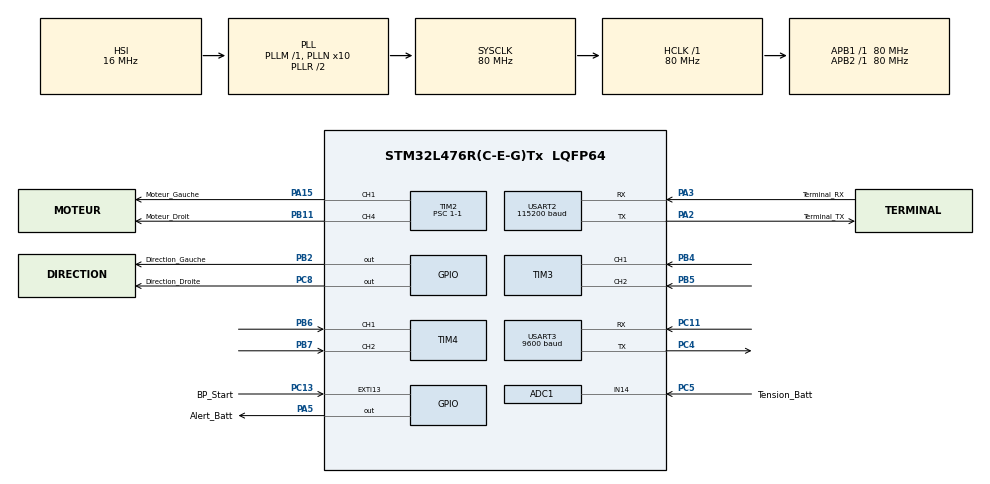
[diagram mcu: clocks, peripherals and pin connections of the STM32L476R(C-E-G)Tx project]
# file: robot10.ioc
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ADC1.AWD1HighThreshold=4095
ADC1.AWD1ITMode=ENABLE
ADC1.AWD1LowThreshold=3723
ADC1.Channel-0\#ChannelRegularConversion=ADC_CHANNEL_14
ADC1.EnableAnalogWatchDog1=true
ADC1.NbrOfConversionFlag=1
ADC1.OffsetNumber-0\#ChannelRegularConversion=ADC_OFFSET_NONE
ADC1.Rank-0\#ChannelRegularConversion=1
ADC1.SamplingTime-0\#ChannelRegularConversion=ADC_SAMPLETIME_2CYCLES_5
ADC1.WatchdogChannel=ADC_CHANNEL_14
ADC1.master=1
Mcu.Family=STM32L4
Mcu.Name=STM32L476R(C-E-G)Tx
Mcu.Package=LQFP64
NVIC.ADC1_2_IRQn=true\:0\:0\:false\:false\:true\:true\:true\:true
NVIC.EXTI15_10_IRQn=true\:0\:0\:false\:false\:true\:true\:true\:true
NVIC.PriorityGroup=NVIC_PRIORITYGROUP_4
NVIC.TIM6_DAC_IRQn=true\:0\:0\:false\:false\:true\:true\:true\:true
NVIC.USART3_IRQn=true\:0\:0\:false\:false\:true\:true\:true\:true
PA13\ (JTMS-SWDIO).GPIO_Label=TMS
PA13\ (JTMS-SWDIO).Mode=Serial_Wire
PA13\ (JTMS-SWDIO).Signal=SYS_JTMS-SWDIO
PA14\ (JTCK-SWCLK).GPIO_Label=TCK
PA14\ (JTCK-SWCLK).Mode=Serial_Wire
PA14\ (JTCK-SWCLK).Signal=SYS_JTCK-SWCLK
PA15\ (JTDI).GPIO_Label=Moteur_Gauche
PA15\ (JTDI).Signal=S_TIM2_CH1
PA2.GPIO_Label=Terminal_TX
PA2.GPIO_Mode=GPIO_MODE_AF_PP
PA2.GPIO_PuPd=GPIO_NOPULL
PA2.GPIO_Speed=GPIO_SPEED_FREQ_VERY_HIGH
PA2.Mode=Asynchronous
PA2.Signal=USART2_TX
PA3.GPIO_Label=Terminal_RX
PA3.Mode=Asynchronous
PA3.Signal=USART2_RX
PA5.GPIO_Label=Alert_Batt
PA5.GPIO_ModeDefaultOutputPP=GPIO_MODE_OUTPUT_PP
PA5.GPIO_PuPd=GPIO_NOPULL
PA5.GPIO_Speed=GPIO_SPEED_FREQ_LOW
PA5.Signal=GPIO_Output
PB11.GPIO_Label=Moteur_Droit
PB11.Signal=S_TIM2_CH4
PB2.GPIO_Label=Direction_Gauche
PB2.Signal=GPIO_Output
PB3\ (JTDO-TRACESWO).GPIO_Label=SWO
PB3\ (JTDO-TRACESWO).Signal=SYS_JTDO-SWO
PB4\ (NJTRST).Signal=S_TIM3_CH1
PB5.Signal=S_TIM3_CH2
PB6.Signal=S_TIM4_CH1
PB7.Signal=S_TIM4_CH2
PC11.Mode=Asynchronous
PC11.Signal=USART3_RX
PC13.GPIO_Label=BP_Start
PC13.Signal=GPXTI13
PC14-OSC32_IN\ (PC14).Mode=LSE-External-Oscillator
PC14-OSC32_IN\ (PC14).Signal=RCC_OSC32_IN
PC15-OSC32_OUT\ (PC15).Mode=LSE-External-Oscillator
PC15-OSC32_OUT\ (PC15).Signal=RCC_OSC32_OUT
PC4.Mode=Asynchronous
PC4.Signal=USART3_TX
PC5.GPIO_Label=Tension_Batt
PC5.Signal=ADCx_IN14
PC8.GPIO_Label=Direction_Droite
PC8.Signal=GPIO_Output
PH0-OSC_IN\ (PH0).Signal=RCC_OSC_IN
PH1-OSC_OUT\ (PH1).Signal=RCC_OSC_OUT
ProjectManager.HeapSize=0x200
ProjectManager.StackSize=0x400
ProjectManager.TargetToolchain=STM32CubeIDE
RCC.ADCFreq_Value=64000000
RCC.AHBFreq_Value=80000000
RCC.APB1Freq_Value=80000000
RCC.APB1TimFreq_Value=80000000
RCC.APB2Freq_Value=80000000
RCC.APB2TimFreq_Value=80000000
RCC.CortexFreq_Value=80000000
RCC.HCLKFreq_Value=80000000
RCC.HSE_VALUE=8000000
RCC.HSI_VALUE=16000000
RCC.MSI_VALUE=4000000
RCC.PLLN=10
RCC.PLLSourceVirtual=RCC_PLLSOURCE_HSI
RCC.PREFETCH_ENABLE=1
RCC.SYSCLKFreq_VALUE=80000000
RCC.SYSCLKSource=RCC_SYSCLKSOURCE_PLLCLK
RCC.USART2CLockSelection=RCC_USART2CLKSOURCE_HSI
RCC.USBFreq_Value=64000000
RCC.VCOOutputFreq_Value=160000000
SH.ADCx_IN14.0=ADC1_IN14,IN14-Single-Ended
SH.S_TIM2_CH1.0=TIM2_CH1,PWM Generation1 CH1
SH.S_TIM2_CH4.0=TIM2_CH4,PWM Generation4 CH4
SH.S_TIM3_CH1.0=TIM3_CH1,Encoder_Interface
SH.S_TIM3_CH2.0=TIM3_CH2,Encoder_Interface
SH.S_TIM4_CH1.0=TIM4_CH1,Encoder_Interface
SH.S_TIM4_CH2.0=TIM4_CH2,Encoder_Interface
TIM2.Channel-PWM\ Generation1\ CH1=TIM_CHANNEL_1
TIM2.Channel-PWM\ Generation4\ CH4=TIM_CHANNEL_4
TIM2.Period=160000-1
TIM2.Prescaler=1-1
TIM3.EncoderMode=TIM_ENCODERMODE_TI12
TIM3.IC1Filter=8
TIM3.IC1Polarity=TIM_ICPOLARITY_FALLING
TIM3.IC2Filter=8
TIM3.IC2Polarity=TIM_ICPOLARITY_RISING
TIM4.EncoderMode=TIM_ENCODERMODE_TI12
TIM4.IC1Filter=8
TIM4.IC1Polarity=TIM_ICPOLARITY_RISING
TIM4.IC2Filter=8
TIM4.IC2Polarity=TIM_ICPOLARITY_RISING
TIM6.Period=65041-1
TIM6.Prescaler=123-1
USART2.BaudRate=115200
USART2.Mode=MODE_TX
USART2.VirtualMode-Asynchronous=VM_ASYNC
USART3.BaudRate=9600
USART3.Mode=MODE_RX
USART3.VirtualMode-Asynchronous=VM_ASYNC
VP_TIM2_VS_ClockSourceINT.Mode=Internal
VP_TIM6_VS_ClockSourceINT.Mode=Enable_Timer
board=NUCLEO-L476RG

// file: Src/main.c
/* USER CODE BEGIN Header */
/**
 ******************************************************************************
 * @file           : main.c
 * @brief          : Main program body
 ******************************************************************************
 * @attention
 *
 * Copyright (c) 2024 STMicroelectronics.
 * All rights reserved.
 *
 * This software is licensed under terms that can be found in the LICENSE file
 * in the root directory of this software component.
 * If no LICENSE file comes with this software, it is provided AS-IS.
 *
 ******************************************************************************
 */
/* USER CODE END Header */
#include "main.h"

/* USER CODE BEGIN PTD */
typedef enum
{
	// robot immobile
	ETAT_ZERO,

	// avancer, trois vitesses possibles
	ETAT_A1,
	ETAT_A2,
	ETAT_A3,

	// reculer, trois vitesses possibles
	ETAT_R1,
	ETAT_R2,
	ETAT_R3,

	// pivoter vers la gauche, trois vitesses possibles
	ETAT_G1,
	ETAT_G2,
	ETAT_G3,

	// pivoter vers la droite, trois vitesses possibles
	ETAT_D1,
	ETAT_D2,
	ETAT_D3
} Etat;

typedef enum
{
	DIR_GAUCHE,
	DIR_DROITE
} Direction;
/* USER CODE END PTD */

/* USER CODE BEGIN PD */
#define GAUCHE TIM_CHANNEL_4
#define DROITE TIM_CHANNEL_1

#define HTIM_GAUCHE &htim3
#define HTIM_DROITE &htim4

#define DIRECTION_ARRIERE 0
#define DIRECTION_AVANT 1

#define CARACT_AVANT 'A'
#define CARACT_ARRIERE 'R'
#define CARACT_GAUCHE 'G'
#define CARACT_DROITE 'D'
/* USER CODE END PD */

/* USER CODE BEGIN PM */
#define abs(x) ((x<0)?-(x):x)
/* USER CODE END PM */

ADC_HandleTypeDef hadc1;

TIM_HandleTypeDef htim2;
TIM_HandleTypeDef htim3;
TIM_HandleTypeDef htim4;
TIM_HandleTypeDef htim6;

UART_HandleTypeDef huart2;
UART_HandleTypeDef huart3;

/* USER CODE BEGIN PV */

// Constantes à paramétrer
const int FREQ_VERIF_BATT_MS = 5000;
const int DELAI_REBOND_MS = 500;

// Constantes déterminées expérimentalement
const int K_p_G = 30;
const int K_p_D = 30;
const int K_i_G = 10;
const int K_i_D = 10;
const int V_MAX = 170/5;
const int REF_TOP_D = 6144;
const int REF_TOP_G = 6170;
const int REF_MUL = 100;

// Vitesse de base qui sera multipliée par 1, 2 ou 3
const char V_0 = 10; // cm/s

// Messages à envoyer au terminal en temps voulu
const unsigned char message_batterie[] = "Batterie faible.\r\n";
const unsigned char message_go[] = "C'est parti !\r\n";
const unsigned char message_stop[] = "Arrêt d'urgence !\r\n";

// Variables globales
volatile char go = 0;
volatile char T_batt = 0;
volatile uint8_t caract_recu;

// Variables d'état
volatile Etat etat_present = ETAT_ZERO;
volatile Etat etat_futur = ETAT_ZERO;

// Vitesses en cm/s
volatile char consigne_G = 0;
volatile char consigne_D = 0;
volatile unsigned int vitesse_G_cms, vitesse_D_cms;
/* USER CODE END PV */

void SystemClock_Config(void);
static void MX_GPIO_Init(void);
static void MX_USART2_UART_Init(void);
static void MX_ADC1_Init(void);
static void MX_TIM6_Init(void);
static void MX_TIM2_Init(void);
static void MX_USART3_UART_Init(void);
static void MX_TIM3_Init(void);
static void MX_TIM4_Init(void);
/* USER CODE BEGIN PFP */
unsigned int calculer_PWM(int vitesse, Direction dir);
void reset_PWM(void);
int diff_top(int vitesse, Direction dir);
int cm_s(int diff_top, Direction dir);
/* USER CODE END PFP */

int main(void)
{

  /* MCU Configuration--------------------------------------------------------*/

  /* Reset of all peripherals, Initializes the Flash interface and the Systick. */
  HAL_Init();

  /* Configure the system clock */
  SystemClock_Config();

  /* Initialize all configured peripherals */
  MX_GPIO_Init();
  MX_USART2_UART_Init();
  MX_ADC1_Init();
  MX_TIM6_Init();
  MX_TIM2_Init();
  MX_USART3_UART_Init();
  MX_TIM3_Init();
  MX_TIM4_Init();
  /* USER CODE BEGIN 2 */

	// Démarrage des timers
	HAL_TIM_Base_Start_IT(&htim6); // T_batt
	HAL_TIM_PWM_Start(&htim2, GAUCHE);
	HAL_TIM_PWM_Start(&htim2, DROITE);
	HAL_TIM_Encoder_Start(HTIM_GAUCHE, TIM_CHANNEL_ALL);
	HAL_TIM_Encoder_Start(HTIM_DROITE, TIM_CHANNEL_ALL);
	HAL_UART_Receive_IT(&huart3, &caract_recu, 1); // Armement pour premier caractère

	reset_PWM(); // Moteurs en position de sécurité
  /* USER CODE END 2 */

  /* Infinite loop */
  /* USER CODE BEGIN WHILE */
	while (1)
	{
		if(T_batt > FREQ_VERIF_BATT_MS/100)
		{
			T_batt = 0;
			// On éteint la LED, elle sera rallumée immédiatement par le watchdog en cas de batterie faible
			HAL_GPIO_WritePin(Alert_Batt_GPIO_Port, Alert_Batt_Pin, GPIO_PIN_RESET);
			HAL_ADC_Start(&hadc1); // Le watchdog se débrouille ensuite
		}
		if(go) // Fonctionnement normal
		{
			// Modification des consignes en fonction de l'état présent
			if(etat_present != etat_futur)
			{
				// Consommation de l'état futur
				// Afin de ne pas boucler inutilement sur la même consigne
				etat_present = etat_futur;
				switch(etat_present)
				{
					case ETAT_ZERO:
						consigne_G = 0;
						consigne_D = 0;
						break;

					case ETAT_A1:
						consigne_G = V_0;
						consigne_D = V_0;
						HAL_GPIO_WritePin(Direction_Gauche_GPIO_Port, Direction_Gauche_Pin, DIRECTION_AVANT);
						HAL_GPIO_WritePin(Direction_Droite_GPIO_Port, Direction_Droite_Pin, DIRECTION_AVANT);
						break;

					case ETAT_A2:
						consigne_G = 2*V_0;
						consigne_D = 2*V_0;
						HAL_GPIO_WritePin(Direction_Gauche_GPIO_Port, Direction_Gauche_Pin, DIRECTION_AVANT);
						HAL_GPIO_WritePin(Direction_Droite_GPIO_Port, Direction_Droite_Pin, DIRECTION_AVANT);
						break;

					case ETAT_A3:
						consigne_G = 3*V_0;
						consigne_D = 3*V_0;
						HAL_GPIO_WritePin(Direction_Gauche_GPIO_Port, Direction_Gauche_Pin, DIRECTION_AVANT);
						HAL_GPIO_WritePin(Direction_Droite_GPIO_Port, Direction_Droite_Pin, DIRECTION_AVANT);
						break;

					case ETAT_R1:
						consigne_G = 1*V_0;
						consigne_D = 1*V_0;
						HAL_GPIO_WritePin(Direction_Gauche_GPIO_Port, Direction_Gauche_Pin, DIRECTION_ARRIERE);
						HAL_GPIO_WritePin(Direction_Droite_GPIO_Port, Direction_Droite_Pin, DIRECTION_ARRIERE);
						break;

					case ETAT_R2:
						consigne_G = 2*V_0;
						consigne_D = 2*V_0;
						HAL_GPIO_WritePin(Direction_Gauche_GPIO_Port, Direction_Gauche_Pin, DIRECTION_ARRIERE);
						HAL_GPIO_WritePin(Direction_Droite_GPIO_Port, Direction_Droite_Pin, DIRECTION_ARRIERE);
						break;

					case ETAT_R3:
						consigne_G = 3*V_0;
						consigne_D = 3*V_0;
						HAL_GPIO_WritePin(Direction_Gauche_GPIO_Port, Direction_Gauche_Pin, DIRECTION_ARRIERE);
						HAL_GPIO_WritePin(Direction_Droite_GPIO_Port, Direction_Droite_Pin, DIRECTION_ARRIERE);
						break;

					case ETAT_G1:
						consigne_G = V_0;
						consigne_D = V_0;
						HAL_GPIO_WritePin(Direction_Gauche_GPIO_Port, Direction_Gauche_Pin, DIRECTION_ARRIERE);
						HAL_GPIO_WritePin(Direction_Droite_GPIO_Port, Direction_Droite_Pin, DIRECTION_AVANT);
						break;

					case ETAT_G2:
						consigne_G = 2*V_0;
						consigne_D = 2*V_0;
						HAL_GPIO_WritePin(Direction_Gauche_GPIO_Port, Direction_Gauche_Pin, DIRECTION_ARRIERE);
						HAL_GPIO_WritePin(Direction_Droite_GPIO_Port, Direction_Droite_Pin, DIRECTION_AVANT);
						break;

					case ETAT_G3:
						consigne_G = 3*V_0;
						consigne_D = 3*V_0;
						HAL_GPIO_WritePin(Direction_Gauche_GPIO_Port, Direction_Gauche_Pin, DIRECTION_ARRIERE);
						HAL_GPIO_WritePin(Direction_Droite_GPIO_Port, Direction_Droite_Pin, DIRECTION_AVANT);
						break;

					case ETAT_D1:
						consigne_G = V_0;
						consigne_D = V_0;
						HAL_GPIO_WritePin(Direction_Gauche_GPIO_Port, Direction_Gauche_Pin, DIRECTION_AVANT);
						HAL_GPIO_WritePin(Direction_Droite_GPIO_Port, Direction_Droite_Pin, DIRECTION_ARRIERE);
						break;

					case ETAT_D2:
						consigne_G = 2*V_0;
						consigne_D = 2*V_0;
						HAL_GPIO_WritePin(Direction_Gauche_GPIO_Port, Direction_Gauche_Pin, DIRECTION_AVANT);
						HAL_GPIO_WritePin(Direction_Droite_GPIO_Port, Direction_Droite_Pin, DIRECTION_ARRIERE);
						break;

					case ETAT_D3:
						consigne_G = 3*V_0;
						consigne_D = 3*V_0;
						HAL_GPIO_WritePin(Direction_Gauche_GPIO_Port, Direction_Gauche_Pin, DIRECTION_AVANT);
						HAL_GPIO_WritePin(Direction_Droite_GPIO_Port, Direction_Droite_Pin, DIRECTION_ARRIERE);
						break;
				}
			}
		}
		else // Arrêt d'urgence
		{
			// Moteurs en position de sécurité
			reset_PWM();
		}
    /* USER CODE END WHILE */

	}
}

void SystemClock_Config(void)
{
  RCC_OscInitTypeDef RCC_OscInitStruct = {0};
  RCC_ClkInitTypeDef RCC_ClkInitStruct = {0};

  /** Configure the main internal regulator output voltage
  */
  if (HAL_PWREx_ControlVoltageScaling(PWR_REGULATOR_VOLTAGE_SCALE1) != HAL_OK)
  {
    Error_Handler();
  }

  /** Initializes the RCC Oscillators according to the specified parameters
  * in the RCC_OscInitTypeDef structure.
  */
  RCC_OscInitStruct.OscillatorType = RCC_OSCILLATORTYPE_HSI;
  RCC_OscInitStruct.HSIState = RCC_HSI_ON;
  RCC_OscInitStruct.HSICalibrationValue = RCC_HSICALIBRATION_DEFAULT;
  RCC_OscInitStruct.PLL.PLLState = RCC_PLL_ON;
  RCC_OscInitStruct.PLL.PLLSource = RCC_PLLSOURCE_HSI;
  RCC_OscInitStruct.PLL.PLLM = 1;
  RCC_OscInitStruct.PLL.PLLN = 10;
  RCC_OscInitStruct.PLL.PLLP = RCC_PLLP_DIV7;
  RCC_OscInitStruct.PLL.PLLQ = RCC_PLLQ_DIV2;
  RCC_OscInitStruct.PLL.PLLR = RCC_PLLR_DIV2;
  if (HAL_RCC_OscConfig(&RCC_OscInitStruct) != HAL_OK)
  {
    Error_Handler();
  }

  /** Initializes the CPU, AHB and APB buses clocks
  */
  RCC_ClkInitStruct.ClockType = RCC_CLOCKTYPE_HCLK|RCC_CLOCKTYPE_SYSCLK
                              |RCC_CLOCKTYPE_PCLK1|RCC_CLOCKTYPE_PCLK2;
  RCC_ClkInitStruct.SYSCLKSource = RCC_SYSCLKSOURCE_PLLCLK;
  RCC_ClkInitStruct.AHBCLKDivider = RCC_SYSCLK_DIV1;
  RCC_ClkInitStruct.APB1CLKDivider = RCC_HCLK_DIV1;
  RCC_ClkInitStruct.APB2CLKDivider = RCC_HCLK_DIV1;

  if (HAL_RCC_ClockConfig(&RCC_ClkInitStruct, FLASH_LATENCY_4) != HAL_OK)
  {
    Error_Handler();
  }
}

static void MX_ADC1_Init(void)
{

  ADC_MultiModeTypeDef multimode = {0};
  ADC_AnalogWDGConfTypeDef AnalogWDGConfig = {0};
  ADC_ChannelConfTypeDef sConfig = {0};

  /** Common config
  */
  hadc1.Instance = ADC1;
  hadc1.Init.ClockPrescaler = ADC_CLOCK_ASYNC_DIV1;
  hadc1.Init.Resolution = ADC_RESOLUTION_12B;
  hadc1.Init.DataAlign = ADC_DATAALIGN_RIGHT;
  hadc1.Init.ScanConvMode = ADC_SCAN_DISABLE;
  hadc1.Init.EOCSelection = ADC_EOC_SINGLE_CONV;
  hadc1.Init.LowPowerAutoWait = DISABLE;
  hadc1.Init.ContinuousConvMode = DISABLE;
  hadc1.Init.NbrOfConversion = 1;
  hadc1.Init.DiscontinuousConvMode = DISABLE;
  hadc1.Init.ExternalTrigConv = ADC_SOFTWARE_START;
  hadc1.Init.ExternalTrigConvEdge = ADC_EXTERNALTRIGCONVEDGE_NONE;
  hadc1.Init.DMAContinuousRequests = DISABLE;
  hadc1.Init.Overrun = ADC_OVR_DATA_PRESERVED;
  hadc1.Init.OversamplingMode = DISABLE;
  if (HAL_ADC_Init(&hadc1) != HAL_OK)
  {
    Error_Handler();
  }

  /** Configure the ADC multi-mode
  */
  multimode.Mode = ADC_MODE_INDEPENDENT;
  if (HAL_ADCEx_MultiModeConfigChannel(&hadc1, &multimode) != HAL_OK)
  {
    Error_Handler();
  }

  /** Configure Analog WatchDog 1
  */
  AnalogWDGConfig.WatchdogNumber = ADC_ANALOGWATCHDOG_1;
  AnalogWDGConfig.WatchdogMode = ADC_ANALOGWATCHDOG_SINGLE_REG;
  AnalogWDGConfig.Channel = ADC_CHANNEL_14;
  AnalogWDGConfig.ITMode = ENABLE;
  AnalogWDGConfig.HighThreshold = 4095;
  AnalogWDGConfig.LowThreshold = 3723;
  if (HAL_ADC_AnalogWDGConfig(&hadc1, &AnalogWDGConfig) != HAL_OK)
  {
    Error_Handler();
  }

  /** Configure Regular Channel
  */
  sConfig.Channel = ADC_CHANNEL_14;
  sConfig.Rank = ADC_REGULAR_RANK_1;
  sConfig.SamplingTime = ADC_SAMPLETIME_2CYCLES_5;
  sConfig.SingleDiff = ADC_SINGLE_ENDED;
  sConfig.OffsetNumber = ADC_OFFSET_NONE;
  sConfig.Offset = 0;
  if (HAL_ADC_ConfigChannel(&hadc1, &sConfig) != HAL_OK)
  {
    Error_Handler();
  }

}

static void MX_TIM2_Init(void)
{

  TIM_ClockConfigTypeDef sClockSourceConfig = {0};
  TIM_MasterConfigTypeDef sMasterConfig = {0};
  TIM_OC_InitTypeDef sConfigOC = {0};

  htim2.Instance = TIM2;
  htim2.Init.Prescaler = 1-1;
  htim2.Init.CounterMode = TIM_COUNTERMODE_UP;
  htim2.Init.Period = 160000-1;
  htim2.Init.ClockDivision = TIM_CLOCKDIVISION_DIV1;
  htim2.Init.AutoReloadPreload = TIM_AUTORELOAD_PRELOAD_DISABLE;
  if (HAL_TIM_Base_Init(&htim2) != HAL_OK)
  {
    Error_Handler();
  }
  sClockSourceConfig.ClockSource = TIM_CLOCKSOURCE_INTERNAL;
  if (HAL_TIM_ConfigClockSource(&htim2, &sClockSourceConfig) != HAL_OK)
  {
    Error_Handler();
  }
  if (HAL_TIM_PWM_Init(&htim2) != HAL_OK)
  {
    Error_Handler();
  }
  sMasterConfig.MasterOutputTrigger = TIM_TRGO_RESET;
  sMasterConfig.MasterSlaveMode = TIM_MASTERSLAVEMODE_DISABLE;
  if (HAL_TIMEx_MasterConfigSynchronization(&htim2, &sMasterConfig) != HAL_OK)
  {
    Error_Handler();
  }
  sConfigOC.OCMode = TIM_OCMODE_PWM1;
  sConfigOC.Pulse = 0;
  sConfigOC.OCPolarity = TIM_OCPOLARITY_HIGH;
  sConfigOC.OCFastMode = TIM_OCFAST_DISABLE;
  if (HAL_TIM_PWM_ConfigChannel(&htim2, &sConfigOC, TIM_CHANNEL_1) != HAL_OK)
  {
    Error_Handler();
  }
  if (HAL_TIM_PWM_ConfigChannel(&htim2, &sConfigOC, TIM_CHANNEL_4) != HAL_OK)
  {
    Error_Handler();
  }
  HAL_TIM_MspPostInit(&htim2);

}

static void MX_TIM3_Init(void)
{

  TIM_Encoder_InitTypeDef sConfig = {0};
  TIM_MasterConfigTypeDef sMasterConfig = {0};

  htim3.Instance = TIM3;
  htim3.Init.Prescaler = 0;
  htim3.Init.CounterMode = TIM_COUNTERMODE_UP;
  htim3.Init.Period = 65535;
  htim3.Init.ClockDivision = TIM_CLOCKDIVISION_DIV1;
  htim3.Init.AutoReloadPreload = TIM_AUTORELOAD_PRELOAD_DISABLE;
  sConfig.EncoderMode = TIM_ENCODERMODE_TI12;
  sConfig.IC1Polarity = TIM_ICPOLARITY_FALLING;
  sConfig.IC1Selection = TIM_ICSELECTION_DIRECTTI;
  sConfig.IC1Prescaler = TIM_ICPSC_DIV1;
  sConfig.IC1Filter = 8;
  sConfig.IC2Polarity = TIM_ICPOLARITY_RISING;
  sConfig.IC2Selection = TIM_ICSELECTION_DIRECTTI;
  sConfig.IC2Prescaler = TIM_ICPSC_DIV1;
  sConfig.IC2Filter = 8;
  if (HAL_TIM_Encoder_Init(&htim3, &sConfig) != HAL_OK)
  {
    Error_Handler();
  }
  sMasterConfig.MasterOutputTrigger = TIM_TRGO_RESET;
  sMasterConfig.MasterSlaveMode = TIM_MASTERSLAVEMODE_DISABLE;
  if (HAL_TIMEx_MasterConfigSynchronization(&htim3, &sMasterConfig) != HAL_OK)
  {
    Error_Handler();
  }

}

static void MX_TIM4_Init(void)
{

  TIM_Encoder_InitTypeDef sConfig = {0};
  TIM_MasterConfigTypeDef sMasterConfig = {0};

  htim4.Instance = TIM4;
  htim4.Init.Prescaler = 0;
  htim4.Init.CounterMode = TIM_COUNTERMODE_UP;
  htim4.Init.Period = 65535;
  htim4.Init.ClockDivision = TIM_CLOCKDIVISION_DIV1;
  htim4.Init.AutoReloadPreload = TIM_AUTORELOAD_PRELOAD_DISABLE;
  sConfig.EncoderMode = TIM_ENCODERMODE_TI12;
  sConfig.IC1Polarity = TIM_ICPOLARITY_RISING;
  sConfig.IC1Selection = TIM_ICSELECTION_DIRECTTI;
  sConfig.IC1Prescaler = TIM_ICPSC_DIV1;
  sConfig.IC1Filter = 8;
  sConfig.IC2Polarity = TIM_ICPOLARITY_RISING;
  sConfig.IC2Selection = TIM_ICSELECTION_DIRECTTI;
  sConfig.IC2Prescaler = TIM_ICPSC_DIV1;
  sConfig.IC2Filter = 8;
  if (HAL_TIM_Encoder_Init(&htim4, &sConfig) != HAL_OK)
  {
    Error_Handler();
  }
  sMasterConfig.MasterOutputTrigger = TIM_TRGO_RESET;
  sMasterConfig.MasterSlaveMode = TIM_MASTERSLAVEMODE_DISABLE;
  if (HAL_TIMEx_MasterConfigSynchronization(&htim4, &sMasterConfig) != HAL_OK)
  {
    Error_Handler();
  }

}

static void MX_TIM6_Init(void)
{

  TIM_MasterConfigTypeDef sMasterConfig = {0};

  htim6.Instance = TIM6;
  htim6.Init.Prescaler = 123-1;
  htim6.Init.CounterMode = TIM_COUNTERMODE_UP;
  htim6.Init.Period = 65041-1;
  htim6.Init.AutoReloadPreload = TIM_AUTORELOAD_PRELOAD_DISABLE;
  if (HAL_TIM_Base_Init(&htim6) != HAL_OK)
  {
    Error_Handler();
  }
  sMasterConfig.MasterOutputTrigger = TIM_TRGO_RESET;
  sMasterConfig.MasterSlaveMode = TIM_MASTERSLAVEMODE_DISABLE;
  if (HAL_TIMEx_MasterConfigSynchronization(&htim6, &sMasterConfig) != HAL_OK)
  {
    Error_Handler();
  }

}

static void MX_USART2_UART_Init(void)
{

  huart2.Instance = USART2;
  huart2.Init.BaudRate = 115200;
  huart2.Init.WordLength = UART_WORDLENGTH_8B;
  huart2.Init.StopBits = UART_STOPBITS_1;
  huart2.Init.Parity = UART_PARITY_NONE;
  huart2.Init.Mode = UART_MODE_TX;
  huart2.Init.HwFlowCtl = UART_HWCONTROL_NONE;
  huart2.Init.OverSampling = UART_OVERSAMPLING_16;
  huart2.Init.OneBitSampling = UART_ONE_BIT_SAMPLE_DISABLE;
  huart2.AdvancedInit.AdvFeatureInit = UART_ADVFEATURE_NO_INIT;
  if (HAL_UART_Init(&huart2) != HAL_OK)
  {
    Error_Handler();
  }

}

static void MX_USART3_UART_Init(void)
{

  huart3.Instance = USART3;
  huart3.Init.BaudRate = 9600;
  huart3.Init.WordLength = UART_WORDLENGTH_8B;
  huart3.Init.StopBits = UART_STOPBITS_1;
  huart3.Init.Parity = UART_PARITY_NONE;
  huart3.Init.Mode = UART_MODE_RX;
  huart3.Init.HwFlowCtl = UART_HWCONTROL_NONE;
  huart3.Init.OverSampling = UART_OVERSAMPLING_16;
  huart3.Init.OneBitSampling = UART_ONE_BIT_SAMPLE_DISABLE;
  huart3.AdvancedInit.AdvFeatureInit = UART_ADVFEATURE_NO_INIT;
  if (HAL_UART_Init(&huart3) != HAL_OK)
  {
    Error_Handler();
  }

}

static void MX_GPIO_Init(void)
{
  GPIO_InitTypeDef GPIO_InitStruct = {0};

  /* GPIO Ports Clock Enable */
  __HAL_RCC_GPIOC_CLK_ENABLE();
  __HAL_RCC_GPIOH_CLK_ENABLE();
  __HAL_RCC_GPIOA_CLK_ENABLE();
  __HAL_RCC_GPIOB_CLK_ENABLE();

  /*Configure GPIO pin Output Level */
  HAL_GPIO_WritePin(Alert_Batt_GPIO_Port, Alert_Batt_Pin, GPIO_PIN_RESET);

  /*Configure GPIO pin Output Level */
  HAL_GPIO_WritePin(Direction_Gauche_GPIO_Port, Direction_Gauche_Pin, GPIO_PIN_RESET);

  /*Configure GPIO pin Output Level */
  HAL_GPIO_WritePin(Direction_Droite_GPIO_Port, Direction_Droite_Pin, GPIO_PIN_RESET);

  /*Configure GPIO pin : BP_Start_Pin */
  GPIO_InitStruct.Pin = BP_Start_Pin;
  GPIO_InitStruct.Mode = GPIO_MODE_IT_RISING;
  GPIO_InitStruct.Pull = GPIO_NOPULL;
  HAL_GPIO_Init(BP_Start_GPIO_Port, &GPIO_InitStruct);

  /*Configure GPIO pin : Alert_Batt_Pin */
  GPIO_InitStruct.Pin = Alert_Batt_Pin;
  GPIO_InitStruct.Mode = GPIO_MODE_OUTPUT_PP;
  GPIO_InitStruct.Pull = GPIO_NOPULL;
  GPIO_InitStruct.Speed = GPIO_SPEED_FREQ_LOW;
  HAL_GPIO_Init(Alert_Batt_GPIO_Port, &GPIO_InitStruct);

  /*Configure GPIO pin : Direction_Gauche_Pin */
  GPIO_InitStruct.Pin = Direction_Gauche_Pin;
  GPIO_InitStruct.Mode = GPIO_MODE_OUTPUT_PP;
  GPIO_InitStruct.Pull = GPIO_NOPULL;
  GPIO_InitStruct.Speed = GPIO_SPEED_FREQ_LOW;
  HAL_GPIO_Init(Direction_Gauche_GPIO_Port, &GPIO_InitStruct);

  /*Configure GPIO pin : Direction_Droite_Pin */
  GPIO_InitStruct.Pin = Direction_Droite_Pin;
  GPIO_InitStruct.Mode = GPIO_MODE_OUTPUT_PP;
  GPIO_InitStruct.Pull = GPIO_NOPULL;
  GPIO_InitStruct.Speed = GPIO_SPEED_FREQ_LOW;
  HAL_GPIO_Init(Direction_Droite_GPIO_Port, &GPIO_InitStruct);

  /* EXTI interrupt init*/
  HAL_NVIC_SetPriority(EXTI15_10_IRQn, 0, 0);
  HAL_NVIC_EnableIRQ(EXTI15_10_IRQn);

}

/* USER CODE BEGIN 4 */
// Callabck analog watchdog
void HAL_ADC_LevelOutOfWindowCallback(ADC_HandleTypeDef *hadc)
{
	// La première mesure déclenche toujours le callback
	static char premiere_mesure_batterie = 1;
	if(hadc == &hadc1) // Vbatt est sur l'ADC1
	{
		if(premiere_mesure_batterie) premiere_mesure_batterie = 0;
		else
		{
			// Allumage de la LED d'alerte
			HAL_GPIO_WritePin(Alert_Batt_GPIO_Port, Alert_Batt_Pin, GPIO_PIN_SET);
			HAL_UART_Transmit(&huart2, (unsigned char*)message_batterie, sizeof(message_batterie), HAL_MAX_DELAY);
		}
	}
}

// Callback bouton start
void HAL_GPIO_EXTI_Callback(uint16_t GPIO_Pin)
{
	static uint32_t dernier_appui = 0;
	if((GPIO_Pin == BP_Start_Pin) && (HAL_GetTick() - dernier_appui > DELAI_REBOND_MS))
	{
		dernier_appui = HAL_GetTick(); // Mise à jour du dernier moment où le bouton a été pressé
		if(go) // arrêt d'urgence
		{
			go = 0;
			HAL_UART_Transmit(&huart2, (unsigned char*)message_stop, sizeof(message_stop), HAL_MAX_DELAY);
		}
		else // départ
		{
			go = 1;
			HAL_UART_Transmit(&huart2, (unsigned char*)message_go, sizeof(message_go), HAL_MAX_DELAY);
		}
	}
}

// Callback timer6
void HAL_TIM_PeriodElapsedCallback(TIM_HandleTypeDef *htim)
{
	// Variables statiques (la valeur est conservée d'un appel à l'autre)
	// G/D : gauche/droite
	// 0/1 : passé/présent
	static int top_0G = 0;
	static int top_0D = 0;
	static int top_1G = 0;
	static int top_1D = 0;

	// Sommes des erreurs
	static int somme_G = 0;
	static int somme_D = 0;

	if(htim == &htim6)
	{
		// Pour la batterie
		T_batt++;

		// Transition depuis l'appel précédent
		top_0G = top_1G;
		top_0D = top_1D;

		// Acquisition depuis les capteurs
		top_1G = __HAL_TIM_GET_COUNTER(HTIM_GAUCHE);
		top_1D = __HAL_TIM_GET_COUNTER(HTIM_DROITE);

		unsigned int vitesse_G = abs(top_1G - top_0G);
		unsigned int vitesse_D = abs(top_1D - top_0D);
		if (vitesse_G > 65000 || vitesse_D > 65000) return; //dépassement

		// Uniquement pour visualisation SWV
		vitesse_G_cms = cm_s(vitesse_G, DIR_GAUCHE);
		vitesse_D_cms = cm_s(vitesse_D, DIR_DROITE);

		// Calculs d'asservissement
		int epsilon_G = diff_top(consigne_G, DIR_GAUCHE) - vitesse_G;
		int epsilon_D = diff_top(consigne_D, DIR_DROITE) - vitesse_D;

		somme_G += epsilon_G;
		somme_D += epsilon_D;

		int commande_G = (K_p_G*epsilon_G/REF_MUL + K_i_G*somme_G/REF_MUL);
		int commande_D = (K_p_D*epsilon_D/REF_MUL + K_i_D*somme_D/REF_MUL);

		// Conversion de la commande (top/delta) en valeur de PWM
		unsigned int PWM_G = calculer_PWM(commande_G, DIR_GAUCHE);
		unsigned int PWM_D = calculer_PWM(commande_D, DIR_DROITE);

		// Envoi des commandes
		__HAL_TIM_SET_COMPARE(&htim2, GAUCHE, PWM_G);
		__HAL_TIM_SET_COMPARE(&htim2, DROITE, PWM_D);
	}
}

// Callback Bluetooth UART3
void HAL_UART_RxCpltCallback(UART_HandleTypeDef *huart)
{
	if(huart == &huart3)
	{
		// Machine d'états
		switch(etat_present)
		{
			case ETAT_ZERO:
				switch(caract_recu)
				{
					case CARACT_AVANT:
						etat_futur = ETAT_A1;
						break;

					case CARACT_ARRIERE:
						etat_futur = ETAT_R1;
						break;

					case CARACT_DROITE:
						etat_futur = ETAT_D1;
						break;

					case CARACT_GAUCHE:
						etat_futur = ETAT_G1;
						break;
				}
				break;

			case ETAT_A1:
				switch(caract_recu)
				{
					case CARACT_AVANT:
						etat_futur = ETAT_A2;
						break;

					case CARACT_ARRIERE:
						etat_futur = ETAT_ZERO;
						break;

					case CARACT_DROITE:
						etat_futur = ETAT_D1;
						break;

					case CARACT_GAUCHE:
						etat_futur = ETAT_G1;
						break;
				}
				break;

			case ETAT_A2:
				switch(caract_recu)
				{
					case CARACT_AVANT:
						etat_futur = ETAT_A3;
						break;

					case CARACT_ARRIERE:
						etat_futur = ETAT_A1;
						break;

					case CARACT_DROITE:
						etat_futur = ETAT_D1;
						break;

					case CARACT_GAUCHE:
						etat_futur = ETAT_G1;
						break;
				}
				break;

			case ETAT_A3:
				switch(caract_recu)
				{
					case CARACT_AVANT:
						etat_futur = ETAT_A3;
						break;

					case CARACT_ARRIERE:
						etat_futur = ETAT_A2;
						break;

					case CARACT_DROITE:
						etat_futur = ETAT_D1;
						break;

					case CARACT_GAUCHE:
						etat_futur = ETAT_G1;
						break;
				}
				break;

			case ETAT_R1:
				switch(caract_recu)
				{
					case CARACT_AVANT:
						etat_futur = ETAT_ZERO;
						break;

					case CARACT_ARRIERE:
						etat_futur = ETAT_R2;
						break;

					case CARACT_DROITE:
						etat_futur = ETAT_D1;
						break;

					case CARACT_GAUCHE:
						etat_futur = ETAT_G1;
						break;
				}
				break;

			case ETAT_R2:
				switch(caract_recu)
				{
					case CARACT_AVANT:
						etat_futur = ETAT_R1;
						break;

					case CARACT_ARRIERE:
						etat_futur = ETAT_R3;
						break;

					case CARACT_DROITE:
						etat_futur = ETAT_D1;
						break;

					case CARACT_GAUCHE:
						etat_futur = ETAT_G1;
						break;
				}
				break;

			case ETAT_R3:
				switch(caract_recu)
				{
					case CARACT_AVANT:
						etat_futur = ETAT_R2;
						break;

					case CARACT_ARRIERE:
						etat_futur = ETAT_R3;
						break;

					case CARACT_DROITE:
						etat_futur = ETAT_D1;
						break;

					case CARACT_GAUCHE:
						etat_futur = ETAT_G1;
						break;
				}
				break;

			case ETAT_G1:
				switch(caract_recu)
				{
					case CARACT_AVANT:
						etat_futur = ETAT_A1;
						break;

					case CARACT_ARRIERE:
						etat_futur = ETAT_R1;
						break;

					case CARACT_DROITE:
						etat_futur = ETAT_ZERO;
						break;

					case CARACT_GAUCHE:
						etat_futur = ETAT_G2;
						break;
				}
				break;

			case ETAT_G2:
				switch(caract_recu)
				{
					case CARACT_AVANT:
						etat_futur = ETAT_A1;
						break;

					case CARACT_ARRIERE:
						etat_futur = ETAT_R1;
						break;

					case CARACT_DROITE:
						etat_futur = ETAT_G1;
						break;

					case CARACT_GAUCHE:
						etat_futur = ETAT_G3;
						break;
				}
				break;

			case ETAT_G3:
				switch(caract_recu)
				{
					case CARACT_AVANT:
						etat_futur = ETAT_A1;
						break;

					case CARACT_ARRIERE:
						etat_futur = ETAT_R1;
						break;

					case CARACT_DROITE:
						etat_futur = ETAT_G2;
						break;

					case CARACT_GAUCHE:
						etat_futur = ETAT_G3;
						break;
				}
				break;

			case ETAT_D1:
				switch(caract_recu)
				{
					case CARACT_AVANT:
						etat_futur = ETAT_A1;
						break;

					case CARACT_ARRIERE:
						etat_futur = ETAT_R1;
						break;

					case CARACT_DROITE:
						etat_futur = ETAT_D2;
						break;

					case CARACT_GAUCHE:
						etat_futur = ETAT_ZERO;
						break;
				}
				break;

			case ETAT_D2:
				switch(caract_recu)
				{
					case CARACT_AVANT:
						etat_futur = ETAT_A1;
						break;

					case CARACT_ARRIERE:
						etat_futur = ETAT_R1;
						break;

					case CARACT_DROITE:
						etat_futur = ETAT_D3;
						break;

					case CARACT_GAUCHE:
						etat_futur = ETAT_D1;
						break;
				}
				break;

			case ETAT_D3:
				switch(caract_recu)
				{
					case CARACT_AVANT:
						etat_futur = ETAT_A1;
						break;

					case CARACT_ARRIERE:
						etat_futur = ETAT_R1;
						break;

					case CARACT_DROITE:
						etat_futur = ETAT_D3;
						break;

					case CARACT_GAUCHE:
						etat_futur = ETAT_D2;
						break;
				}
				break;
		}
	}
	HAL_UART_Receive_IT(&huart3, &caract_recu, 1); // Réarmement pour la suite
	return;
}

unsigned int calculer_PWM(int vitesse, Direction dir) // top/delta
{
	uint32_t arr_timer = TIM2->ARR;
	long valeur = arr_timer*vitesse;
	/* Si toutes les opérations sont sur la même ligne,
	   les calculs intermédiaires sont faits sur 32 bits
	   et le résultat dépasse */
	valeur /= diff_top(V_MAX, dir);

	unsigned int r = valeur;

	// Écrêtage de la valeur aux limites du PWM
	if (valeur < 0) r = 0;
	if (valeur > (long) arr_timer) r = arr_timer;

	return r;
}

int diff_top(int vitesse, Direction dir) // cm/s
{
	long r = (dir==DIR_GAUCHE) ? REF_TOP_G : REF_TOP_D;
	r *= vitesse;
	r /= V_MAX;
	r /= REF_MUL;
	return (int)r;
}

int cm_s(int diff_top, Direction dir)
{
	long r = V_MAX * REF_MUL;
	r *= diff_top;
	r /= (dir==DIR_GAUCHE) ? REF_TOP_G : REF_TOP_D;
	return (int)r;
}

void reset_PWM(void)
{
	// Initialisation des PWM à zéro
	__HAL_TIM_SET_COMPARE(&htim2, GAUCHE, calculer_PWM(0, DIR_GAUCHE));
	__HAL_TIM_SET_COMPARE(&htim2, DROITE, calculer_PWM(0, DIR_DROITE));

	// Initialisation des directions en avant
	HAL_GPIO_WritePin(Direction_Gauche_GPIO_Port, Direction_Gauche_Pin, DIRECTION_AVANT);
	HAL_GPIO_WritePin(Direction_Droite_GPIO_Port, Direction_Droite_Pin, DIRECTION_AVANT);
}
/* USER CODE END 4 */

void Error_Handler(void)
{
	__disable_irq();
	while (1)
	{
	}
}
